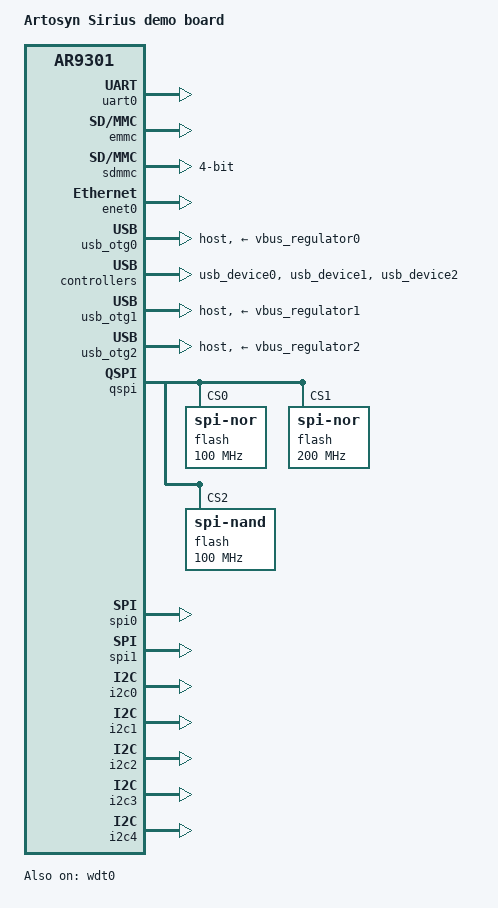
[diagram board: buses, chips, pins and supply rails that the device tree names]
/*
 * Copyright 2015 Hans de Goede <hdegoede@redhat.com>
 *
 * Minimal dts file for the MSI Primo81 for u-boot only
 *
 * SPDX-License-Identifier:     GPL-2.0+ or X11
 */

/dts-v1/;

#include "artosyn-ar9301.dtsi"

//#if gCONFIG_ARTOSYN_SIRIUS_DDR_TYPE==ddr3
//#include "artosyn-sirius-ddr3.dtsi"
//#elif gCONFIG_ARTOSYN_SIRIUS_DDR_TYPE==ddr4
//#include "artosyn-sirius-ddr4.dtsi"
//#elif gCONFIG_ARTOSYN_SIRIUS_DDR_TYPE==lpddr3
//#include "artosyn-sirius-lpddr3.dtsi"
//#endif

/ {
	model = "Artosyn Sirius demo board";
	compatible = "artosyn, sirius-demo";

	aliases {
		console = &uart0;
		serial0 = &uart0;
	};

	chosen {
		stdout-path = "serial0:115200n8";
	};

};

&uart0 {
	u-boot,dm-pre-reloc;
	status = "okay";
};

&emmc {
	u-boot,dm-pre-reloc;
	status = "okay";
};

&sdmmc {
	max-frequency = <10000000>;
	fifo-depth = <128>;
	bus-width = <4>;
	status = "okay";
};

&enet0 {
	status = "okay";
};

&usb_otg0 {
	vbus-supply = <&vbus_regulator0>;
	dr_mode = "host";
	status = "okay";
};

&usb_device0 {
	status = "okay";
};

&usb_otg1 {
	vbus-supply = <&vbus_regulator1>;
	dr_mode = "host";
	status = "okay";
};

&usb_device1 {
	status = "okay";
};

&usb_otg2 {
	vbus-supply = <&vbus_regulator2>;
	dr_mode = "host";
	status = "okay";
};

&usb_device2 {
	status = "okay";
};

&qspi {
	u-boot,dm-pre-reloc;
	status = "okay";

	flash@0 {
		u-boot,dm-pre-reloc;
		compatible = "jedec,spi-nor";
		reg = <0>;
		spi-max-frequency = <100000000>;
		spi-tx-bus-width = <4>;
		spi-rx-bus-width = <4>;
	};

	flash@1 {
		u-boot,dm-pre-reloc;
		compatible = "jedec,spi-nor";
		reg = <1>;
		spi-max-frequency = <200000000>;
		spi-tx-bus-width = <4>;
		spi-rx-bus-width = <4>;
	};

	flash@2 {
		u-boot,dm-pre-reloc;
		compatible = "spi-nand";
		reg = <2>;
		spi-max-frequency = <100000000>;
		spi-tx-bus-width = <4>;
		spi-rx-bus-width = <4>;
	};
};

&wdt0 {
	u-boot,dm-pre-reloc;
	status = "okay";
};

&spi0 {
        status = "okay";
};

&spi1 {
        status = "okay";
};

&i2c0 {
        status = "okay";
};

&i2c1 {
        status = "okay";
};

&i2c2 {
        status = "okay";
};

&i2c3 {
        status = "okay";
};

&i2c4 {
        status = "okay";
};
